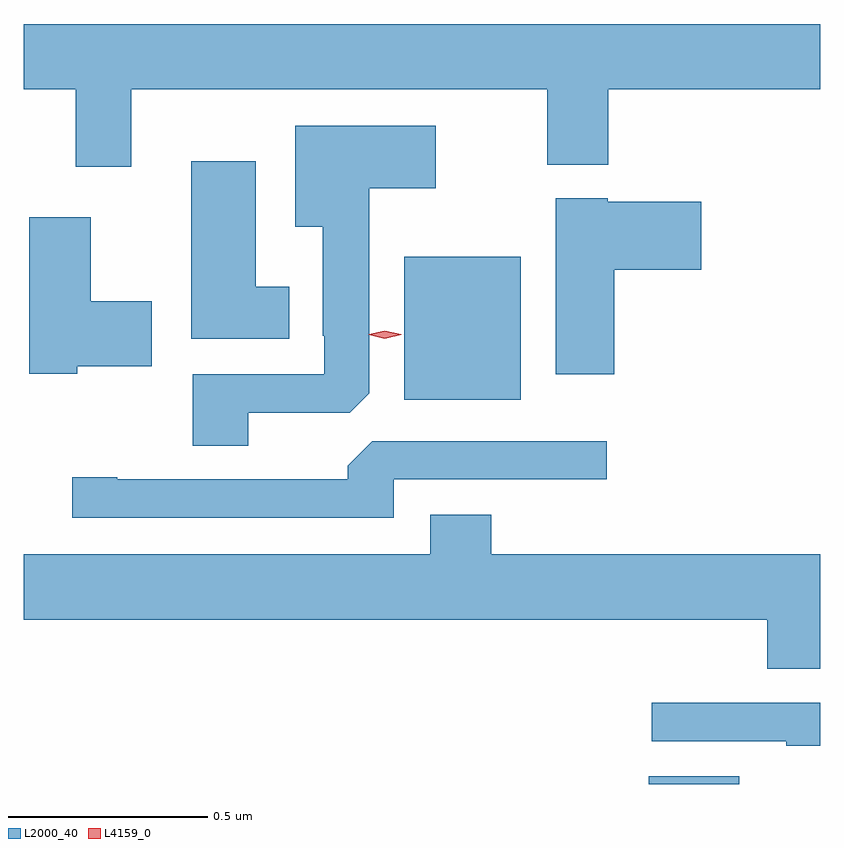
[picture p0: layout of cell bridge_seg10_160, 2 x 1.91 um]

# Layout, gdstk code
import gdstk
lib = gdstk.Library(unit=1e-6, precision=1e-09)
def R(c, l, rs):  # rectangles x0, y0, x1, y1
    for r in rs: c.add(gdstk.rectangle(r[:2], r[2:], *l))
def P(c, l, *ps):  # polygons
    for p in ps: c.add(gdstk.Polygon(p, *l))
L2000_40 = (2000, 40)
L4159_0 = (4159, 0)

bridge_seg10_160 = lib.new_cell('bridge_seg10_160')
R(bridge_seg10_160, L2000_40, [(252.83,1293.243,253.057,1293.262), (252.215,1294.208,252.508,1294.567)])
P(bridge_seg10_160, L2000_40, [(251.53,1294.988),(252.575,1294.988),(252.575,1294.799),(252.728,1294.799),(252.728,1294.988),(253.26,1294.988),(253.26,1295.152),(251.26,1295.152),(251.26,1294.988),(251.39,1294.988),(251.39,1294.794),(251.53,1294.794)],
  [(251.824,1294.176),(252.078,1294.176),(252.127,1294.225),(252.127,1294.739),(252.295,1294.739),(252.295,1294.897),(251.942,1294.897),(251.942,1294.643),(252.011,1294.643),(252.011,1294.369),(252.015,1294.369),(252.015,1294.272),(251.684,1294.272),(251.684,1294.093),(251.824,1294.093)],
  [(251.926,1294.492),(251.842,1294.492),(251.842,1294.807),(251.681,1294.807),(251.681,1294.361),(251.926,1294.361)],
  [(252.743,1294.535),(252.961,1294.535),(252.961,1294.705),(252.726,1294.705),(252.726,1294.714),(252.596,1294.714),(252.596,1294.272),(252.743,1294.272)],
  [(251.394,1294.292),(251.581,1294.292),(251.581,1294.455),(251.428,1294.455),(251.428,1294.666),(251.273,1294.666),(251.273,1294.274),(251.394,1294.274)],
  [(252.189,1294.008),(252.724,1294.008),(252.724,1294.104),(252.135,1294.104),(252.074,1294.042),(252.074,1294.008),(251.494,1294.008),(251.494,1294.013),(251.382,1294.013),(251.382,1293.912),(252.189,1293.912)],
  [(253.26,1293.82),(252.434,1293.82),(252.434,1293.919),(252.281,1293.919),(252.281,1293.82),(251.26,1293.82),(251.26,1293.656),(253.127,1293.656),(253.127,1293.532),(253.26,1293.532)],
  [(253.26,1293.447),(252.837,1293.447),(252.837,1293.351),(253.175,1293.351),(253.175,1293.339),(253.26,1293.339)])
P(bridge_seg10_160, L4159_0, [(252.167,1294.362),(252.126,1294.372),(252.126,1294.372),(252.126,1294.373),(252.167,1294.382),(252.208,1294.373),(252.208,1294.372),(252.208,1294.372)])

lib.write_gds('bridge_seg10_160.gds')
